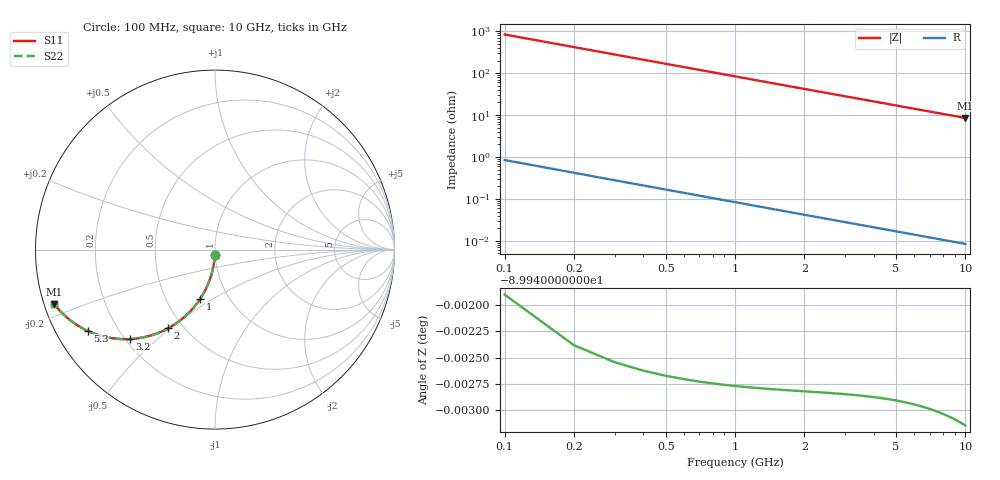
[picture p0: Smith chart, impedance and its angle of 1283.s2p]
# Hz S RI R 50.00
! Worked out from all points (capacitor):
!   100 points, 100 MHz to 10 GHz, reference 50 ohm
!   read as one part in shunt: C = 1.9 pF near 100 MHz
!   lowest |Z| = 8.52 ohm at 10 GHz (marker M1)
!   S11 on the Smith chart (normalised r, x): 100 MHz: 1.00, -0.06; 1 GHz: 0.74, -0.44; 2 GHz: 0.41, -0.49; 3.2 GHz: 0.22, -0.41; 5.3 GHz: 0.09, -0.29; 10 GHz: 0.03, -0.16
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1e8  -0.000922 -0.0299  0.9991 -0.0299  0.9991 -0.0299  -0.000922 -0.0299
2e8  -0.00362 -0.0596  0.9964 -0.0596  0.9964 -0.0596  -0.00362 -0.0596
3e8  -0.00807 -0.0889  0.9919 -0.089  0.9919 -0.089  -0.00807 -0.0889
4e8  -0.0142 -0.1178  0.9858 -0.1179  0.9858 -0.1179  -0.0142 -0.1178
5e8  -0.022 -0.146  0.978 -0.1462  0.978 -0.1462  -0.022 -0.146
6e8  -0.0313 -0.1735  0.9687 -0.1737  0.9687 -0.1737  -0.0313 -0.1735
7e8  -0.0421 -0.2001  0.9579 -0.2003  0.9579 -0.2003  -0.0421 -0.2001
8e8  -0.0542 -0.2257  0.9458 -0.2259  0.9458 -0.2259  -0.0542 -0.2257
1e9  -0.082 -0.2737  0.918 -0.2739  0.918 -0.2739  -0.082 -0.2737
1.2e9  -0.1137 -0.3168  0.8863 -0.3171  0.8863 -0.3171  -0.1137 -0.3168
1.4e9  -0.1485 -0.3549  0.8515 -0.3552  0.8515 -0.3552  -0.1485 -0.3549
1.8e9  -0.2231 -0.4156  0.7768 -0.4161  0.7768 -0.4161  -0.2231 -0.4156
2e9  -0.2615 -0.4387  0.7385 -0.4392  0.7385 -0.4392  -0.2615 -0.4387
2.6e9  -0.3734 -0.4829  0.6265 -0.4836  0.6265 -0.4836  -0.3734 -0.4829
3.2e9  -0.4736 -0.4984  0.5264 -0.4992  0.5264 -0.4992  -0.4736 -0.4984
3.4e9  -0.5037 -0.499  0.4963 -0.4999  0.4963 -0.4999  -0.5037 -0.499
4.2e9  -0.6068 -0.4874  0.3932 -0.4885  0.3932 -0.4885  -0.6068 -0.4874
5.1e9  -0.6941 -0.4596  0.3059 -0.461  0.3059 -0.461  -0.6941 -0.4596
5.3e9  -0.71 -0.4525  0.2899 -0.4539  0.2899 -0.4539  -0.71 -0.4525
6.7e9  -0.796 -0.4016  0.204 -0.4034  0.204 -0.4034  -0.796 -0.4016
8.4e9  -0.8595 -0.3459  0.1405 -0.3481  0.1405 -0.3481  -0.8595 -0.3459
1e10  -0.8964 -0.3029  0.1036 -0.3055  0.1036 -0.3055  -0.8964 -0.3029
